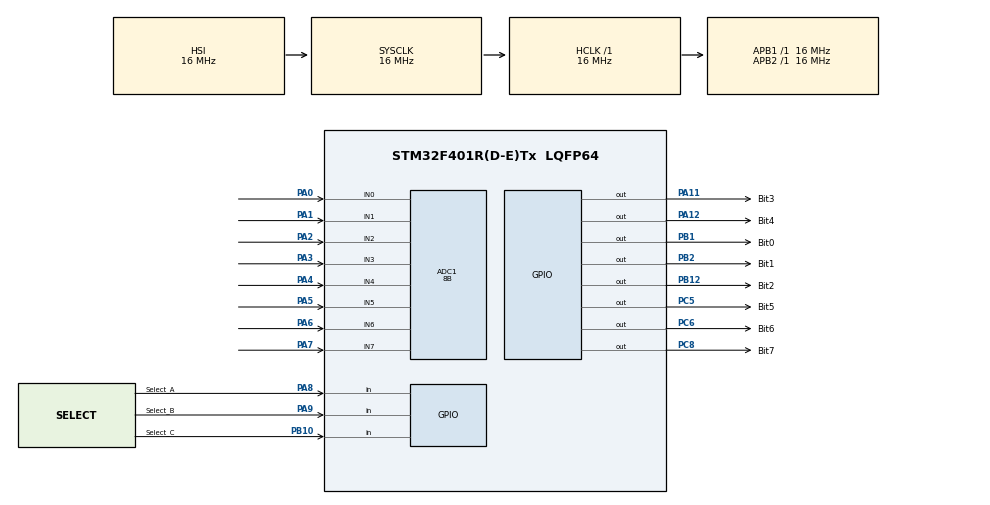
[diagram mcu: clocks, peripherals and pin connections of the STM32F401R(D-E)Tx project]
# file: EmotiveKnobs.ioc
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ADC1.Channel-10\#ChannelRegularConversion=ADC_CHANNEL_3
ADC1.Channel-11\#ChannelRegularConversion=ADC_CHANNEL_4
ADC1.Channel-12\#ChannelRegularConversion=ADC_CHANNEL_5
ADC1.Channel-13\#ChannelRegularConversion=ADC_CHANNEL_6
ADC1.Channel-14\#ChannelRegularConversion=ADC_CHANNEL_7
ADC1.Channel-8\#ChannelRegularConversion=ADC_CHANNEL_1
ADC1.Channel-9\#ChannelRegularConversion=ADC_CHANNEL_2
ADC1.ContinuousConvMode=ENABLE
ADC1.DMAContinuousRequests=DISABLE
ADC1.DataAlign=ADC_DATAALIGN_RIGHT
ADC1.DiscontinuousConvMode=DISABLE
ADC1.InjNumberOfConversion=0
ADC1.NbrOfConversion=8
ADC1.NbrOfConversionFlag=1
ADC1.Rank-10\#ChannelRegularConversion=4
ADC1.Rank-11\#ChannelRegularConversion=5
ADC1.Rank-12\#ChannelRegularConversion=6
ADC1.Rank-13\#ChannelRegularConversion=7
ADC1.Rank-14\#ChannelRegularConversion=8
ADC1.Rank-8\#ChannelRegularConversion=2
ADC1.Rank-9\#ChannelRegularConversion=3
ADC1.Resolution=ADC_RESOLUTION_8B
ADC1.SamplingTime-0\#ChannelRegularConversion=ADC_SAMPLETIME_3CYCLES
ADC1.SamplingTime-10\#ChannelRegularConversion=ADC_SAMPLETIME_3CYCLES
ADC1.SamplingTime-11\#ChannelRegularConversion=ADC_SAMPLETIME_3CYCLES
ADC1.SamplingTime-12\#ChannelRegularConversion=ADC_SAMPLETIME_3CYCLES
ADC1.SamplingTime-13\#ChannelRegularConversion=ADC_SAMPLETIME_3CYCLES
ADC1.SamplingTime-14\#ChannelRegularConversion=ADC_SAMPLETIME_3CYCLES
ADC1.SamplingTime-8\#ChannelRegularConversion=ADC_SAMPLETIME_3CYCLES
ADC1.SamplingTime-9\#ChannelRegularConversion=ADC_SAMPLETIME_3CYCLES
ADC1.ScanConvMode=ENABLE
ADC1.master=1
Dma.ADC1.0.Direction=DMA_PERIPH_TO_MEMORY
Dma.ADC1.0.FIFOMode=DMA_FIFOMODE_DISABLE
Dma.ADC1.0.Instance=DMA2_Stream0
Dma.ADC1.0.MemDataAlignment=DMA_MDATAALIGN_WORD
Dma.ADC1.0.MemInc=DMA_MINC_ENABLE
Dma.ADC1.0.Mode=DMA_CIRCULAR
Dma.ADC1.0.PeriphDataAlignment=DMA_PDATAALIGN_WORD
Dma.ADC1.0.PeriphInc=DMA_PINC_DISABLE
Dma.ADC1.0.Priority=DMA_PRIORITY_HIGH
Dma.Request0=ADC1
Mcu.Family=STM32F4
Mcu.Name=STM32F401R(D-E)Tx
Mcu.Package=LQFP64
NVIC.ADC_IRQn=true\:0\:0\:false\:false\:true\:true\:true\:true
NVIC.DMA2_Stream0_IRQn=true\:0\:0\:false\:false\:true\:false\:true\:true
NVIC.PriorityGroup=NVIC_PRIORITYGROUP_4
PA0-WKUP.Signal=ADCx_IN0
PA1.Signal=ADCx_IN1
PA11.GPIO_Label=Bit3
PA11.GPIO_PuPd=GPIO_PULLDOWN
PA11.GPIO_Speed=GPIO_SPEED_FREQ_HIGH
PA11.Signal=GPIO_Output
PA12.GPIO_Label=Bit4
PA12.GPIO_PuPd=GPIO_PULLDOWN
PA12.GPIO_Speed=GPIO_SPEED_FREQ_HIGH
PA12.Signal=GPIO_Output
PA2.Signal=ADCx_IN2
PA3.Signal=ADCx_IN3
PA4.Signal=ADCx_IN4
PA5.Signal=ADCx_IN5
PA6.Signal=ADCx_IN6
PA7.Signal=ADCx_IN7
PA8.GPIO_Label=Select_A
PA8.Signal=GPIO_Input
PA9.GPIO_Label=Select_B
PA9.Signal=GPIO_Input
PB1.GPIO_Label=Bit0
PB1.GPIO_PuPd=GPIO_PULLDOWN
PB1.GPIO_Speed=GPIO_SPEED_FREQ_HIGH
PB1.Signal=GPIO_Output
PB10.GPIO_Label=Select_C
PB10.Signal=GPIO_Input
PB12.GPIO_Label=Bit2
PB12.GPIO_PuPd=GPIO_PULLDOWN
PB12.GPIO_Speed=GPIO_SPEED_FREQ_HIGH
PB12.Signal=GPIO_Output
PB2.GPIO_Label=Bit1
PB2.GPIO_PuPd=GPIO_PULLDOWN
PB2.GPIO_Speed=GPIO_SPEED_FREQ_HIGH
PB2.Signal=GPIO_Output
PC5.GPIO_Label=Bit5
PC5.GPIO_PuPd=GPIO_PULLDOWN
PC5.GPIO_Speed=GPIO_SPEED_FREQ_HIGH
PC5.Signal=GPIO_Output
PC6.GPIO_Label=Bit6
PC6.GPIO_PuPd=GPIO_PULLDOWN
PC6.GPIO_Speed=GPIO_SPEED_FREQ_HIGH
PC6.Signal=GPIO_Output
PC8.GPIO_Label=Bit7
PC8.GPIO_PuPd=GPIO_PULLDOWN
PC8.GPIO_Speed=GPIO_SPEED_FREQ_HIGH
PC8.Signal=GPIO_Output
ProjectManager.HeapSize=0x200
ProjectManager.StackSize=0x400
ProjectManager.TargetToolchain=STM32CubeIDE
RCC.AHBFreq_Value=16000000
RCC.APB1Freq_Value=16000000
RCC.APB2Freq_Value=16000000
RCC.CortexFreq_Value=16000000
RCC.HSE_VALUE=25000000
RCC.HSI_VALUE=16000000
RCC.LSE_VALUE=32768
RCC.SYSCLKFreq_VALUE=16000000
RCC.VCOOutputFreq_Value=192000000
SH.ADCx_IN0.0=ADC1_IN0,IN0
SH.ADCx_IN1.0=ADC1_IN1,IN1
SH.ADCx_IN2.0=ADC1_IN2,IN2
SH.ADCx_IN3.0=ADC1_IN3,IN3
SH.ADCx_IN4.0=ADC1_IN4,IN4
SH.ADCx_IN5.0=ADC1_IN5,IN5
SH.ADCx_IN6.0=ADC1_IN6,IN6
SH.ADCx_IN7.0=ADC1_IN7,IN7
board=custom

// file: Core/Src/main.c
/* USER CODE BEGIN Header */
/**
  ******************************************************************************
  * @file           : main.c
  * @brief          : Main program body
  ******************************************************************************
  * @attention
  *
  * Copyright (c) 2024 STMicroelectronics.
  * All rights reserved.
  *
  * This software is licensed under terms that can be found in the LICENSE file
  * in the root directory of this software component.
  * If no LICENSE file comes with this software, it is provided AS-IS.
  *
  ******************************************************************************
  */
/* USER CODE END Header */
#include "main.h"

/* USER CODE BEGIN Includes */
#include "stdio.h"
/* USER CODE END Includes */

ADC_HandleTypeDef hadc1;
DMA_HandleTypeDef hdma_adc1;

/* USER CODE BEGIN PV */

uint32_t knobVals[8];

short select;
uint16_t currKnobVal;

/* USER CODE END PV */

void SystemClock_Config(void);
static void MX_GPIO_Init(void);
static void MX_DMA_Init(void);
static void MX_ADC1_Init(void);

/* USER CODE BEGIN 0 */

void HAL_ADC_ConvCpltCallback(ADC_HandleTypeDef* hadc) {
	if (hadc->Instance != ADC1) return;

	currKnobVal = knobVals[select];

	int bits[8] = {0, 0, 0, 0, 0, 0, 0, 0};

	int bitmask = 0x80; // 0x80 is the bitmask for the most significant bit (128 in decimal)

	for (int i = 0; i < 8; i++) {
	    bits[i] = (currKnobVal & bitmask) ? 1 : 0; // Store 1 or 0 in the bits array
	    bitmask >>= 1; // Shift the bitmask by 1 to check the next bit
	}

//	const char bits[] = {
//			(currKnobVal & 0x1) != 0,
//			(currKnobVal & 0x2) != 0,
//			(currKnobVal & 0x4) != 0,
//			(currKnobVal & 0x8) != 0,
//			(currKnobVal & 0x10) != 0,
//			(currKnobVal & 0x20) != 0,
//			(currKnobVal & 0x40) != 0,
//			(currKnobVal & 0x80) != 0,
//			(currKnobVal & 0x100) != 0,
//	};

	HAL_GPIO_WritePin(Bit0_GPIO_Port, Bit0_Pin, (char)bits[0]);
	HAL_GPIO_WritePin(Bit1_GPIO_Port, Bit1_Pin, (char)bits[1]);
	HAL_GPIO_WritePin(Bit2_GPIO_Port, Bit2_Pin, (char)bits[2]);
	HAL_GPIO_WritePin(Bit3_GPIO_Port, Bit3_Pin, (char)bits[3]);
	HAL_GPIO_WritePin(Bit4_GPIO_Port, Bit4_Pin, (char)bits[4]);
	HAL_GPIO_WritePin(Bit5_GPIO_Port, Bit5_Pin, (char)bits[5]);
	HAL_GPIO_WritePin(Bit6_GPIO_Port, Bit6_Pin, (char)bits[6]);
	HAL_GPIO_WritePin(Bit7_GPIO_Port, Bit7_Pin, (char)bits[7]);
}

void selectADCAndStart() //inside while
{
	const short A = HAL_GPIO_ReadPin(Select_A_GPIO_Port, Select_A_Pin);
	const short B = HAL_GPIO_ReadPin(Select_B_GPIO_Port, Select_B_Pin);
	const short C = HAL_GPIO_ReadPin(Select_C_GPIO_Port, Select_C_Pin);
    select = (A << 2) + (B << 1) + C;
//	select = C;
//	printf("%d\n\r", select);

	HAL_ADC_Start_DMA(&hadc1, (uint32_t*)knobVals, 8);
	HAL_ADC_Start_IT(&hadc1);
	HAL_Delay(1);
	HAL_ADC_Stop_IT(&hadc1);
}

/* USER CODE END 0 */

int main(void)
{

  /* MCU Configuration--------------------------------------------------------*/

  /* Reset of all peripherals, Initializes the Flash interface and the Systick. */
  HAL_Init();

  /* Configure the system clock */
  SystemClock_Config();

  /* Initialize all configured peripherals */
  MX_GPIO_Init();
  MX_DMA_Init();
  MX_ADC1_Init();

  /* Infinite loop */
  while (1)
  {

    /* USER CODE BEGIN 3 */
	  selectADCAndStart();
  }
  /* USER CODE END 3 */
}

void SystemClock_Config(void)
{
  RCC_OscInitTypeDef RCC_OscInitStruct = {0};
  RCC_ClkInitTypeDef RCC_ClkInitStruct = {0};

  /** Configure the main internal regulator output voltage
  */
  __HAL_RCC_PWR_CLK_ENABLE();
  __HAL_PWR_VOLTAGESCALING_CONFIG(PWR_REGULATOR_VOLTAGE_SCALE2);

  /** Initializes the RCC Oscillators according to the specified parameters
  * in the RCC_OscInitTypeDef structure.
  */
  RCC_OscInitStruct.OscillatorType = RCC_OSCILLATORTYPE_HSI;
  RCC_OscInitStruct.HSIState = RCC_HSI_ON;
  RCC_OscInitStruct.HSICalibrationValue = RCC_HSICALIBRATION_DEFAULT;
  RCC_OscInitStruct.PLL.PLLState = RCC_PLL_NONE;
  if (HAL_RCC_OscConfig(&RCC_OscInitStruct) != HAL_OK)
  {
    Error_Handler();
  }

  /** Initializes the CPU, AHB and APB buses clocks
  */
  RCC_ClkInitStruct.ClockType = RCC_CLOCKTYPE_HCLK|RCC_CLOCKTYPE_SYSCLK
                              |RCC_CLOCKTYPE_PCLK1|RCC_CLOCKTYPE_PCLK2;
  RCC_ClkInitStruct.SYSCLKSource = RCC_SYSCLKSOURCE_HSI;
  RCC_ClkInitStruct.AHBCLKDivider = RCC_SYSCLK_DIV1;
  RCC_ClkInitStruct.APB1CLKDivider = RCC_HCLK_DIV1;
  RCC_ClkInitStruct.APB2CLKDivider = RCC_HCLK_DIV1;

  if (HAL_RCC_ClockConfig(&RCC_ClkInitStruct, FLASH_LATENCY_0) != HAL_OK)
  {
    Error_Handler();
  }
}

static void MX_ADC1_Init(void)
{

  ADC_ChannelConfTypeDef sConfig = {0};

  /** Configure the global features of the ADC (Clock, Resolution, Data Alignment and number of conversion)
  */
  hadc1.Instance = ADC1;
  hadc1.Init.ClockPrescaler = ADC_CLOCK_SYNC_PCLK_DIV2;
  hadc1.Init.Resolution = ADC_RESOLUTION_8B;
  hadc1.Init.ScanConvMode = ENABLE;
  hadc1.Init.ContinuousConvMode = ENABLE;
  hadc1.Init.DiscontinuousConvMode = DISABLE;
  hadc1.Init.ExternalTrigConvEdge = ADC_EXTERNALTRIGCONVEDGE_NONE;
  hadc1.Init.ExternalTrigConv = ADC_SOFTWARE_START;
  hadc1.Init.DataAlign = ADC_DATAALIGN_RIGHT;
  hadc1.Init.NbrOfConversion = 8;
  hadc1.Init.DMAContinuousRequests = DISABLE;
  hadc1.Init.EOCSelection = ADC_EOC_SINGLE_CONV;
  if (HAL_ADC_Init(&hadc1) != HAL_OK)
  {
    Error_Handler();
  }

  /** Configure for the selected ADC regular channel its corresponding rank in the sequencer and its sample time.
  */
  sConfig.Channel = ADC_CHANNEL_1;
  sConfig.Rank = 2;
  sConfig.SamplingTime = ADC_SAMPLETIME_3CYCLES;
  if (HAL_ADC_ConfigChannel(&hadc1, &sConfig) != HAL_OK)
  {
    Error_Handler();
  }

  /** Configure for the selected ADC regular channel its corresponding rank in the sequencer and its sample time.
  */
  sConfig.Channel = ADC_CHANNEL_2;
  sConfig.Rank = 3;
  if (HAL_ADC_ConfigChannel(&hadc1, &sConfig) != HAL_OK)
  {
    Error_Handler();
  }

  /** Configure for the selected ADC regular channel its corresponding rank in the sequencer and its sample time.
  */
  sConfig.Channel = ADC_CHANNEL_3;
  sConfig.Rank = 4;
  if (HAL_ADC_ConfigChannel(&hadc1, &sConfig) != HAL_OK)
  {
    Error_Handler();
  }

  /** Configure for the selected ADC regular channel its corresponding rank in the sequencer and its sample time.
  */
  sConfig.Channel = ADC_CHANNEL_4;
  sConfig.Rank = 5;
  if (HAL_ADC_ConfigChannel(&hadc1, &sConfig) != HAL_OK)
  {
    Error_Handler();
  }

  /** Configure for the selected ADC regular channel its corresponding rank in the sequencer and its sample time.
  */
  sConfig.Channel = ADC_CHANNEL_5;
  sConfig.Rank = 6;
  if (HAL_ADC_ConfigChannel(&hadc1, &sConfig) != HAL_OK)
  {
    Error_Handler();
  }

  /** Configure for the selected ADC regular channel its corresponding rank in the sequencer and its sample time.
  */
  sConfig.Channel = ADC_CHANNEL_6;
  sConfig.Rank = 7;
  if (HAL_ADC_ConfigChannel(&hadc1, &sConfig) != HAL_OK)
  {
    Error_Handler();
  }

  /** Configure for the selected ADC regular channel its corresponding rank in the sequencer and its sample time.
  */
  sConfig.Channel = ADC_CHANNEL_7;
  sConfig.Rank = 8;
  if (HAL_ADC_ConfigChannel(&hadc1, &sConfig) != HAL_OK)
  {
    Error_Handler();
  }

}

static void MX_DMA_Init(void)
{

  /* DMA controller clock enable */
  __HAL_RCC_DMA2_CLK_ENABLE();

  /* DMA interrupt init */
  /* DMA2_Stream0_IRQn interrupt configuration */
  HAL_NVIC_SetPriority(DMA2_Stream0_IRQn, 0, 0);
  HAL_NVIC_EnableIRQ(DMA2_Stream0_IRQn);

}

static void MX_GPIO_Init(void)
{
  GPIO_InitTypeDef GPIO_InitStruct = {0};

  /* GPIO Ports Clock Enable */
  __HAL_RCC_GPIOA_CLK_ENABLE();
  __HAL_RCC_GPIOC_CLK_ENABLE();
  __HAL_RCC_GPIOB_CLK_ENABLE();

  /*Configure GPIO pin Output Level */
  HAL_GPIO_WritePin(GPIOC, Bit5_Pin|Bit6_Pin|Bit7_Pin, GPIO_PIN_RESET);

  /*Configure GPIO pin Output Level */
  HAL_GPIO_WritePin(GPIOB, Bit0_Pin|Bit1_Pin|Bit2_Pin, GPIO_PIN_RESET);

  /*Configure GPIO pin Output Level */
  HAL_GPIO_WritePin(GPIOA, Bit3_Pin|Bit4_Pin, GPIO_PIN_RESET);

  /*Configure GPIO pins : Bit5_Pin Bit6_Pin Bit7_Pin */
  GPIO_InitStruct.Pin = Bit5_Pin|Bit6_Pin|Bit7_Pin;
  GPIO_InitStruct.Mode = GPIO_MODE_OUTPUT_PP;
  GPIO_InitStruct.Pull = GPIO_PULLDOWN;
  GPIO_InitStruct.Speed = GPIO_SPEED_FREQ_HIGH;
  HAL_GPIO_Init(GPIOC, &GPIO_InitStruct);

  /*Configure GPIO pins : Bit0_Pin Bit1_Pin Bit2_Pin */
  GPIO_InitStruct.Pin = Bit0_Pin|Bit1_Pin|Bit2_Pin;
  GPIO_InitStruct.Mode = GPIO_MODE_OUTPUT_PP;
  GPIO_InitStruct.Pull = GPIO_PULLDOWN;
  GPIO_InitStruct.Speed = GPIO_SPEED_FREQ_HIGH;
  HAL_GPIO_Init(GPIOB, &GPIO_InitStruct);

  /*Configure GPIO pin : Select_C_Pin */
  GPIO_InitStruct.Pin = Select_C_Pin;
  GPIO_InitStruct.Mode = GPIO_MODE_INPUT;
  GPIO_InitStruct.Pull = GPIO_NOPULL;
  HAL_GPIO_Init(Select_C_GPIO_Port, &GPIO_InitStruct);

  /*Configure GPIO pins : Select_A_Pin Select_B_Pin */
  GPIO_InitStruct.Pin = Select_A_Pin|Select_B_Pin;
  GPIO_InitStruct.Mode = GPIO_MODE_INPUT;
  GPIO_InitStruct.Pull = GPIO_NOPULL;
  HAL_GPIO_Init(GPIOA, &GPIO_InitStruct);

  /*Configure GPIO pins : Bit3_Pin Bit4_Pin */
  GPIO_InitStruct.Pin = Bit3_Pin|Bit4_Pin;
  GPIO_InitStruct.Mode = GPIO_MODE_OUTPUT_PP;
  GPIO_InitStruct.Pull = GPIO_PULLDOWN;
  GPIO_InitStruct.Speed = GPIO_SPEED_FREQ_HIGH;
  HAL_GPIO_Init(GPIOA, &GPIO_InitStruct);

}

void Error_Handler(void)
{
  __disable_irq();
  while (1)
  {
  }
}
